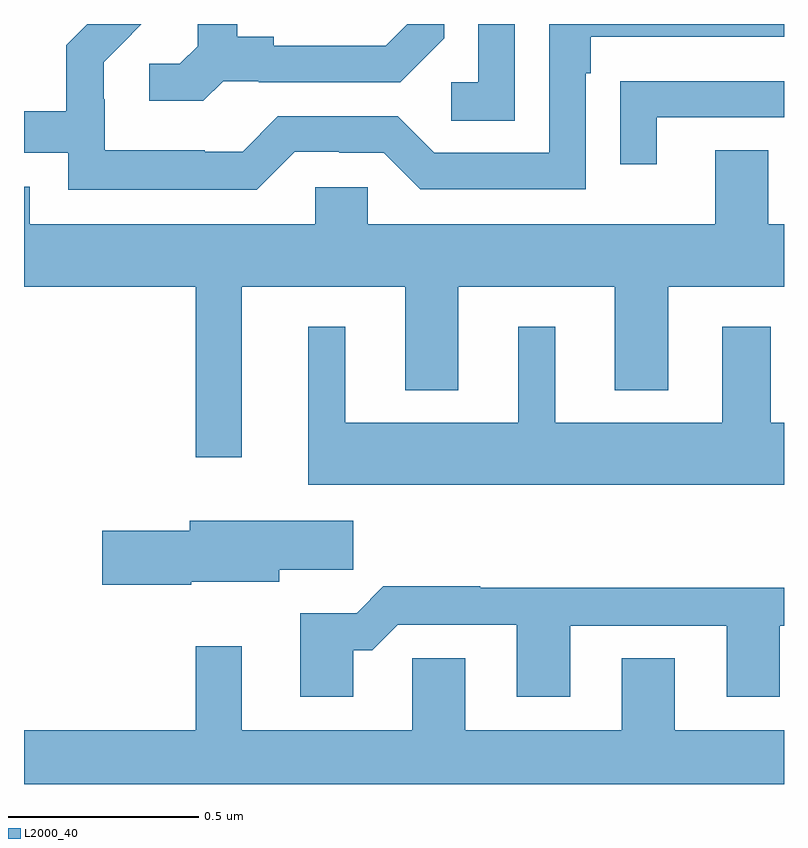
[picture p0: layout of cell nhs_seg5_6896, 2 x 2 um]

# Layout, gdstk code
import gdstk
lib = gdstk.Library(unit=1e-6, precision=1e-09)
def P(c, l, *ps):  # polygons
    for p in ps: c.add(gdstk.Polygon(p, *l))
L2000_40 = (2000, 40)

nhs_seg5_6896 = lib.new_cell('nhs_seg5_6896')
P(nhs_seg5_6896, L2000_40, [(202.713,842.463),(202.829,842.463),(202.829,842.46),(202.947,842.46),(203.043,842.364),(203.478,842.364),(203.478,842.669),(203.491,842.669),(203.491,842.766),(204,842.766),(204,842.799),(203.382,842.799),(203.382,842.46),(203.079,842.46),(202.983,842.556),(202.668,842.556),(202.575,842.463),(202.475,842.463),(202.475,842.467),(202.212,842.467),(202.212,842.601),(202.21,842.601),(202.21,842.698),(202.284,842.772),(202.283,842.773),(202.309,842.799),(202.167,842.799),(202.111,842.743),(202.111,842.569),(202,842.569),(202,842.46),(202.116,842.46),(202.116,842.363),(202.613,842.363)],
  [(202.524,842.649),(202.618,842.649),(202.618,842.646),(202.99,842.646),(203.106,842.762),(203.106,842.799),(203.009,842.799),(202.952,842.742),(202.657,842.742),(202.657,842.765),(202.561,842.765),(202.561,842.799),(202.457,842.799),(202.457,842.741),(202.41,842.694),(202.329,842.694),(202.329,842.597),(202.472,842.597)],
  [(203.292,842.799),(203.196,842.799),(203.196,842.646),(203.124,842.646),(203.124,842.545),(203.292,842.545)],
  [(203.665,842.553),(204,842.553),(204,842.649),(203.671,842.649),(203.671,842.648),(203.569,842.648),(203.569,842.43),(203.665,842.43)],
  [(202.573,842.108),(203.003,842.108),(203.003,841.835),(203.143,841.835),(203.143,842.108),(203.555,842.108),(203.555,841.835),(203.695,841.835),(203.695,842.108),(204,842.108),(204,842.272),(203.959,842.272),(203.959,842.467),(203.819,842.467),(203.819,842.272),(202.905,842.272),(202.905,842.37),(202.767,842.37),(202.767,842.272),(202.015,842.272),(202.015,842.371),(202,842.371),(202,842.108),(202.452,842.108),(202.452,841.659),(202.573,841.659)],
  [(204,841.75),(203.965,841.75),(203.965,842.002),(203.837,842.002),(203.837,841.75),(203.398,841.75),(203.398,842.002),(203.3,842.002),(203.3,841.75),(202.846,841.75),(202.846,842.002),(202.748,842.002),(202.748,841.586),(204,841.586)],
  [(202.44,841.331),(202.672,841.331),(202.672,841.363),(202.867,841.363),(202.867,841.492),(202.436,841.492),(202.436,841.466),(202.206,841.466),(202.206,841.324),(202.44,841.324)],
  [(202.867,841.151),(202.916,841.151),(202.983,841.218),(203.297,841.218),(203.297,841.029),(203.437,841.029),(203.437,841.215),(203.849,841.215),(203.849,841.029),(203.989,841.029),(203.989,841.215),(204,841.215),(204,841.316),(203.201,841.316),(203.201,841.319),(202.946,841.319),(202.876,841.249),(202.727,841.249),(202.727,841.029),(202.867,841.029)],
  [(204,840.94),(203.713,840.94),(203.713,841.13),(203.573,841.13),(203.573,840.94),(203.161,840.94),(203.161,841.13),(203.022,841.13),(203.022,840.94),(202.573,840.94),(202.573,841.162),(202.452,841.162),(202.452,840.94),(202,840.94),(202,840.799),(204,840.799)])

lib.write_gds('nhs_seg5_6896.gds')
